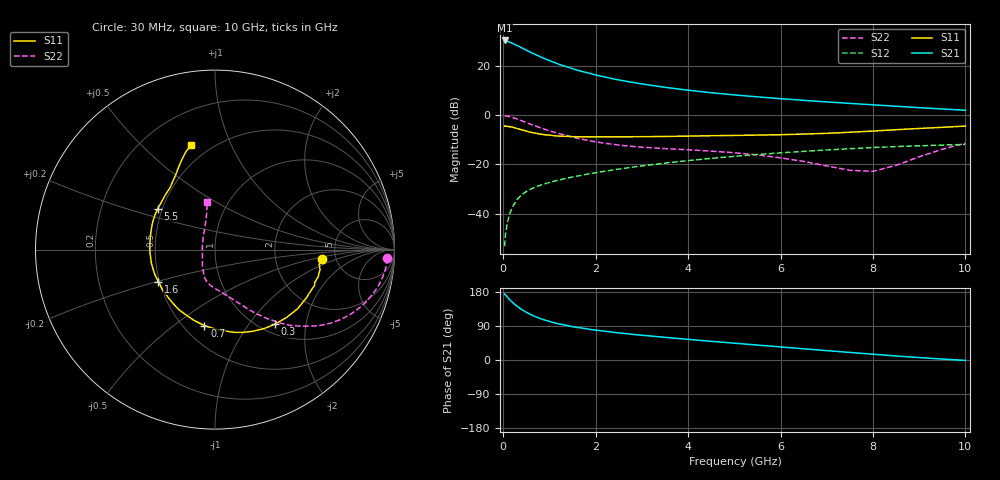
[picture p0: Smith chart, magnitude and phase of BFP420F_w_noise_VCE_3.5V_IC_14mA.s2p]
! Infineon Technologies  Discrete & RF Semiconductors
! BFP420F
! VCE =  3.5 V,  IC =  14 mA
! Common Emitter S-Parameters:  Sep 2011
# GHz  S  MA  R  50
!  f  S11  S21  S12  S22
! GHz  MAG  ANG  MAG  ANG  MAG  ANG  MAG  ANG
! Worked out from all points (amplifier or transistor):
!   54 points, 30 MHz to 10 GHz, reference 50 ohm
!   highest |S21| = 30.2 dB at 30 MHz (marker M1)
!   |S21| within 3 dB of that: start of sweep to 401 MHz
!   unconditionally stable (mu >= 1): 1.906 GHz to end of sweep
!   at 120 MHz: K = 0.27, MSG = 35.6 dB, |S12| = -41.4 dB
!   at 1.3 GHz: K = 0.83, MSG = 23.0 dB, |S12| = -25.9 dB
!   at 10 GHz: K = 1.26, MAG = 3.9 dB, |S12| = -11.9 dB
!   lowest NFmin = 1.34 dB at 450 MHz
!   S11 on the Smith chart (normalised r, x): 30 MHz: 3.85, -0.63; 300 MHz: 1.16, -1.35; 700 MHz: 0.63, -0.65; 1.6 GHz: 0.49, -0.20; 5.5 GHz: 0.47, +0.26; 10 GHz: 0.40, +0.71
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0.03  0.5969 -5.1  32.45 174.2  0.0022 72.3  0.961 -2.9
0.05  0.5859 -7.8  31.92 171.0  0.0039 73.8  0.9598 -4.9
0.07  0.5937 -13.3  31.8 168.7  0.005 80.2  0.9545 -6.9
0.1  0.5854 -18.3  31.17 164.3  0.0071 78.8  0.9439 -9.9
0.15  0.577 -27.1  29.69 157.8  0.0105 76.8  0.9208 -14.5
0.2  0.5664 -35.6  28.34 152.2  0.0137 74.3  0.8934 -18.8
0.3  0.5332 -51.3  25.68 141.8  0.0194 70.0  0.8308 -26.2
0.4  0.5016 -65.1  23 133.1  0.0241 66.5  0.7653 -32.3
0.5  0.4728 -77.1  20.64 125.9  0.0282 63.6  0.7032 -37.2
0.6  0.4466 -88.3  18.52 119.5  0.0316 61.5  0.6458 -41.4
0.7  0.4276 -97.9  16.78 114.1  0.0349 60.2  0.5979 -45.0
0.9  0.3978 -114.0  13.8 105.4  0.0404 58.6  0.514 -50.5
1.1  0.3811 -127.1  11.67 98.4  0.0456 57.7  0.4491 -55.2
1.3  0.3701 -137.7  9.978 93.0  0.0505 57.4  0.3996 -59.1
1.6  0.3628 -150.5  8.116 86.0  0.0579 57.1  0.3408 -64.6
1.7  0.3617 -154.0  7.665 84.3  0.0603 57.1  0.3243 -66.2
2.4  0.3611 -172.8  5.36 72.9  0.0778 56.2  0.253 -78.3
3.5  0.3681 167.9  3.644 59.8  0.1061 53.2  0.2087 -93.4
5.5  0.3923 144.3  2.333 39.4  0.1585 43.6  0.1556 -113.4
7  0.4259 126.1  1.845 24.7  0.1954 34.8  0.0931 -138.6
8.5  0.5042 113.6  1.506 10.6  0.2294 24.8  0.0955 133.4
10  0.5965 103.2  1.251 -1.1  0.2537 15.7  0.268 99.2
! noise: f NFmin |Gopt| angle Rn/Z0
0.45  1.34  0.08  173  0.11
0.9  1.34  0.09  161  0.13
1.9  1.47  0.19  177  0.19
2.4  1.53  0.19  -180  0.12
3.5  1.78  0.24  -164  0.17
